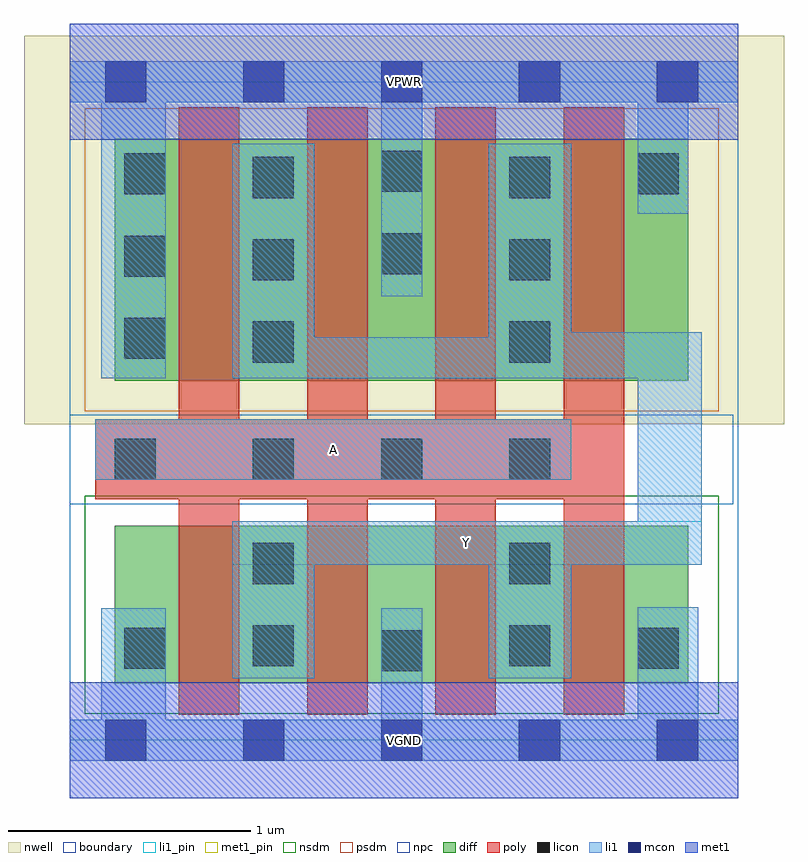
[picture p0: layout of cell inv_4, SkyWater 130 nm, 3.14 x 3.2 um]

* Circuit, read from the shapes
.subckt inv_4 A VGND VPWR Y
XM1 Y A VGND VSUBS sky130_fd_pr__nfet_01v8 w=0.65 l=0.25 m=4
XM2 Y A VPWR n1 sky130_fd_pr__pfet_01v8 w=1 l=0.25 m=4
.ends

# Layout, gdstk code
import gdstk
lib = gdstk.Library(unit=1e-6, precision=1e-09)
def R(c, l, rs):  # rectangles x0, y0, x1, y1
    for r in rs: c.add(gdstk.rectangle(r[:2], r[2:], *l))
def A(c, l, x, y, w, h, nx, ny, dx, dy):  # array of equal rectangles
    R(c, l, [(x+i*dx, y+j*dy, x+i*dx+w, y+j*dy+h) for i in range(nx) for j in range(ny)])
nwell = (64, 20)
diff = (65, 20)
poly = (66, 20)
licon = (66, 44)
li1_pin = (67, 16)
li1 = (67, 20)
mcon = (67, 44)
met1_pin = (68, 16)
met1 = (68, 20)
nsdm = (93, 44)
psdm = (94, 20)
npc = (95, 20)
boundary = (235, 4)

inv_4 = lib.new_cell('inv_4')
R(inv_4, nwell, [(-0.19,1.305,2.95,2.91), (0,1.305,2.76,2.91)])
R(inv_4, diff, [(0.185,0.235,2.555,0.885), (0.185,1.485,2.555,2.485)])
A(inv_4, poly, 0.45, 0.105, 0.25, 2.51, 4, 1, 0.53, 0)
R(inv_4, poly, [(0.105,0.995,2.29,1.325)])
A(inv_4, licon, 0.755, 1.075, 0.17, 0.17, 3, 1, 0.53, 0)
A(inv_4, licon, 0.755, 1.56, 0.17, 0.17, 1, 3, 0, 0.34)
A(inv_4, licon, 1.815, 1.56, 0.17, 0.17, 1, 3, 0, 0.34)
A(inv_4, licon, 0.225, 1.575, 0.17, 0.17, 1, 3, 0, 0.34)
R(inv_4, licon, [(1.285,0.285,1.455,0.455), (0.225,0.295,0.395,0.465), (2.345,0.295,2.515,0.465), (0.755,0.305,0.925,0.475), (1.815,0.305,1.985,0.475), (0.755,0.645,0.925,0.815), (1.815,0.645,1.985,0.815), (0.185,1.075,0.355,1.245), (1.285,1.925,1.455,2.095), (2.345,2.255,2.515,2.425), (1.285,2.265,1.455,2.435)])
R(inv_4, li1_pin, [(0.67,0.725,2.61,0.905), (0.105,1.075,2.07,1.325)])
R(inv_4, li1, [(0,-0.085,2.76,0.085), (0.13,-0.085,0.395,0.545), (1.285,-0.085,1.455,0.545), (2.345,-0.085,2.595,0.55), (0.67,0.255,1.01,0.905), (1.73,0.255,2.07,0.905), (0.67,0.725,2.61,0.905), (2.345,0.725,2.61,1.685), (0.105,1.075,2.07,1.325), (0.13,1.495,0.395,2.805), (0.67,1.495,1.01,2.465), (0.67,1.495,2.61,1.665), (1.73,1.495,2.07,2.465), (1.73,1.495,2.61,1.685), (1.285,1.835,1.455,2.805), (2.345,2.175,2.555,2.805), (0,2.635,2.76,2.805)])
A(inv_4, mcon, 0.145, -0.085, 0.17, 0.17, 5, 2, 0.57, 2.72)
R(inv_4, met1_pin, [(0,-0.24,2.76,0.24), (0,2.48,2.76,2.96)])
R(inv_4, met1, [(0,-0.24,2.76,0.24), (0,2.48,2.76,2.96)])
R(inv_4, nsdm, [(0.06,0.11,2.68,1.01)])
R(inv_4, psdm, [(0.06,1.36,2.68,2.61)])
R(inv_4, npc, [(0,0.975,2.74,1.345)])
R(inv_4, boundary, [(0,0,2.76,2.72)])
inv_4.add(gdstk.Label('A', (1.087,1.2), layer=67, texttype=5))
inv_4.add(gdstk.Label('Y', (1.64,0.815), layer=67, texttype=5))
inv_4.add(gdstk.Label('VPWR', (1.38,2.72), layer=68, texttype=5))
inv_4.add(gdstk.Label('VGND', (1.38,0), layer=68, texttype=5))
inv_4.add(gdstk.Label('A', (1.087,1.2), layer=67, texttype=16))
inv_4.add(gdstk.Label('Y', (1.64,0.815), layer=67, texttype=16))
inv_4.add(gdstk.Label('VPWR', (1.38,2.72), layer=68, texttype=16))
inv_4.add(gdstk.Label('VGND', (1.38,0), layer=68, texttype=16))

lib.write_gds('inv_4.gds')
